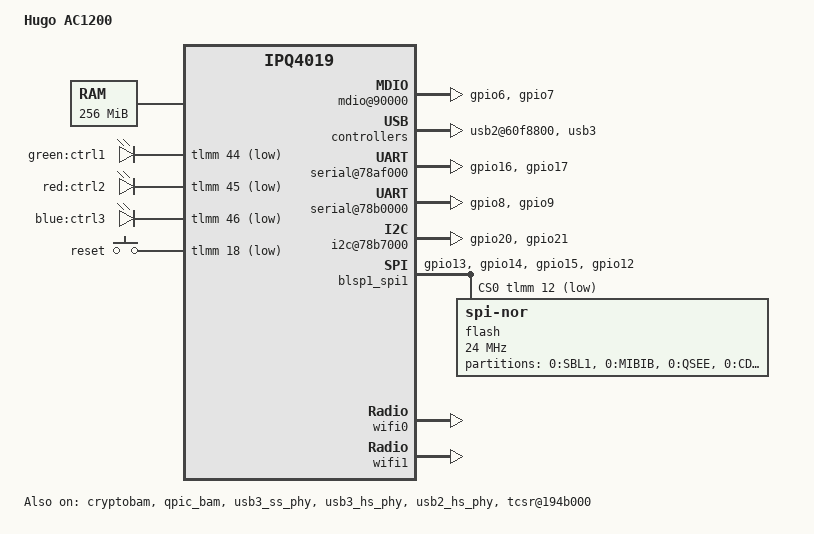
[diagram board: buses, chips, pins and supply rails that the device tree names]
/*
 * Copyright (c) 2019 Hugo Yuan <hugolxq@gmail.com>
 */

#include "qcom-ipq4019.dtsi"
#include <dt-bindings/gpio/gpio.h>
#include <dt-bindings/input/input.h>
#include <dt-bindings/soc/qcom,tcsr.h>

/ {
	model = "Hugo AC1200";
	compatible = "hugo,ac1200", "qcom,ipq4019";

	memory {
		device_type = "memory";
		reg = <0x80000000 0x10000000>; /* 256MB */
	};

	aliases {
		led-boot = &power;
		led-failsafe = &power;
		led-running = &power;
		led-upgrade = &power;
	};

	soc {
		mdio@90000 {
			status = "okay";
			pinctrl-0 = <&mdio_pins>;
			pinctrl-names = "default";
		};

		ess-psgmii@98000 {
			status = "okay";
		};

		tcsr@1949000 {
			compatible = "qcom,tcsr";
			reg = <0x1949000 0x100>;
			qcom,wifi_glb_cfg = <TCSR_WIFI_GLB_CFG>;
		};

		tcsr@194b000 {
			/* select hostmode */
			compatible = "qcom,tcsr";
			reg = <0x194b000 0x100>;
			qcom,usb-hsphy-mode-select = <TCSR_USB_HSPHY_HOST_MODE>;
			status = "okay";
		};

		ess_tcsr@1953000 {
			compatible = "qcom,tcsr";
			reg = <0x1953000 0x1000>;
			qcom,ess-interface-select = <TCSR_ESS_PSGMII>;
		};

		tcsr@1957000 {
			compatible = "qcom,tcsr";
			reg = <0x1957000 0x100>;
			qcom,wifi_noc_memtype_m0_m2 = <TCSR_WIFI_NOC_MEMTYPE_M0_M2>;
		};

		usb2@60f8800 {
			status = "okay";

			dwc3@6000000 {
				#address-cells = <1>;
				#size-cells = <0>;

				usb2_port1: port@1 {
					reg = <1>;
					#trigger-source-cells = <0>;
				};
			};
		};

		serial@78af000 {
			pinctrl-0 = <&serial_0_pins>;
			pinctrl-names = "default";
			status = "okay";
		};

		serial@78b0000 {
			pinctrl-0 = <&serial_1_pins>;
			pinctrl-names = "default";
			status = "okay";
		};

		i2c@78b7000 { /* BLSP1 QUP2 */
			pinctrl-0 = <&i2c_0_pins>;
			pinctrl-names = "default";

			status = "okay";
		};

		usb3: usb3@8af8800 {
			status = "okay";

			dwc3@8a00000 {
				#address-cells = <1>;
				#size-cells = <0>;

				usb3_port1: port@1 {
					reg = <1>;
					#trigger-source-cells = <0>;
				};

				usb3_port2: port@2 {
					reg = <2>;
					#trigger-source-cells = <0>;
				};
			};
		};

		crypto@8e3a000 {
			status = "okay";
		};

		watchdog@b017000 {
			status = "okay";
		};

		ess-switch@c000000 {
			status = "okay";
		};

		edma@c080000 {
			status = "okay";
		};

		leds {
			compatible = "gpio-leds";

			led1 {
				label = "green:ctrl1";
				gpios = <&tlmm 44 GPIO_ACTIVE_LOW>;
			};

			led2 {
				label = "red:ctrl2";
				gpios = <&tlmm 45 GPIO_ACTIVE_LOW>;
			};

			power: led3 {
				label = "blue:ctrl3";
				gpios = <&tlmm 46 GPIO_ACTIVE_LOW>;
			};
		};

		keys {
			compatible = "gpio-keys";

			reset {
				label = "reset";
				gpios = <&tlmm 18 GPIO_ACTIVE_LOW>;
				linux,code = <KEY_RESTART>;
			};
		};
	};
};

&blsp_dma {
	status = "okay";
};

&blsp1_spi1 {
	pinctrl-0 = <&spi_0_pins>;
	pinctrl-names = "default";
	status = "okay";
	cs-gpios = <&tlmm 12 GPIO_ACTIVE_LOW>;

	flash@0 {
		reg = <0>;
		compatible = "jedec,spi-nor";
		spi-max-frequency = <24000000>;

		partitions {
			compatible = "fixed-partitions";
			#address-cells = <1>;
			#size-cells = <1>;

			partition@0 {
				label = "0:SBL1";
				reg = <0x0 0x40000>;
				read-only;
			};

			partition@40000 {
				label = "0:MIBIB";
				reg = <0x40000 0x20000>;
				read-only;
			};

			partition@60000 {
				label = "0:QSEE";
				reg = <0x60000 0x60000>;
				read-only;
			};

			partition@c0000 {
				label = "0:CDT";
				reg = <0xc0000 0x10000>;
				read-only;
			};

			partition@d0000 {
				label = "0:DDRPARAMS";
				reg = <0xd0000 0x10000>;
				read-only;
			};

			partition@e0000 {
				label = "0:APPSBLENV";
				reg = <0xe0000 0x10000>;
				read-only;
			};

			partition@f0000 {
				label = "0:APPSBL";
				reg = <0xf0000 0x80000>;
				read-only;
			};

			partition@170000 {
				label = "0:ART";
				reg = <0x170000 0x10000>;
				read-only;
			};

			partition@180000 {
				compatible = "denx,fit";
				label = "firmware";
				reg = <0x180000 0x1e80000>;
			};
		};
	};
};

&cryptobam {
	status = "okay";
};

&qpic_bam {
	status = "okay";
};

&tlmm {
	i2c_0_pins: i2c-0-pinmux {
		mux {
			pins = "gpio20", "gpio21";
			function = "blsp_i2c0";
			bias-disable;
		};
	};

	mdio_pins: mdio_pinmux {
		mux_1 {
			pins = "gpio6";
			function = "mdio";
			bias-pull-up;
		};

		mux_2 {
			pins = "gpio7";
			function = "mdc";
			bias-pull-up;
		};
	};

	serial_0_pins: serial0-pinmux {
		mux {
			pins = "gpio16", "gpio17";
			function = "blsp_uart0";
			bias-disable;
		};
	};

	serial_1_pins: serial1_pinmux {
		mux {
			pins = "gpio8", "gpio9";
			function = "blsp_uart1";
			bias-disable;
		};
	};

	spi_0_pins: spi_0_pinmux {
		pinmux {
			function = "blsp_spi0";
			pins = "gpio13", "gpio14", "gpio15";
			drive-strength = <12>;
			bias-disable;
		};

		pinmux_cs {
			function = "gpio";
			pins = "gpio12";
			drive-strength = <2>;
			bias-disable;
			output-high;
		};
	};
};

&usb3_ss_phy {
	status = "okay";
};

&usb3_hs_phy {
	status = "okay";
};

&usb2_hs_phy {
	status = "okay";
};

&wifi0 {
	status = "okay";
	qcom,ath10k-calibration-variant = "hugo_ac1200";
};

&wifi1 {
	status = "okay";
	qcom,ath10k-calibration-variant = "hugo_ac1200";
};
